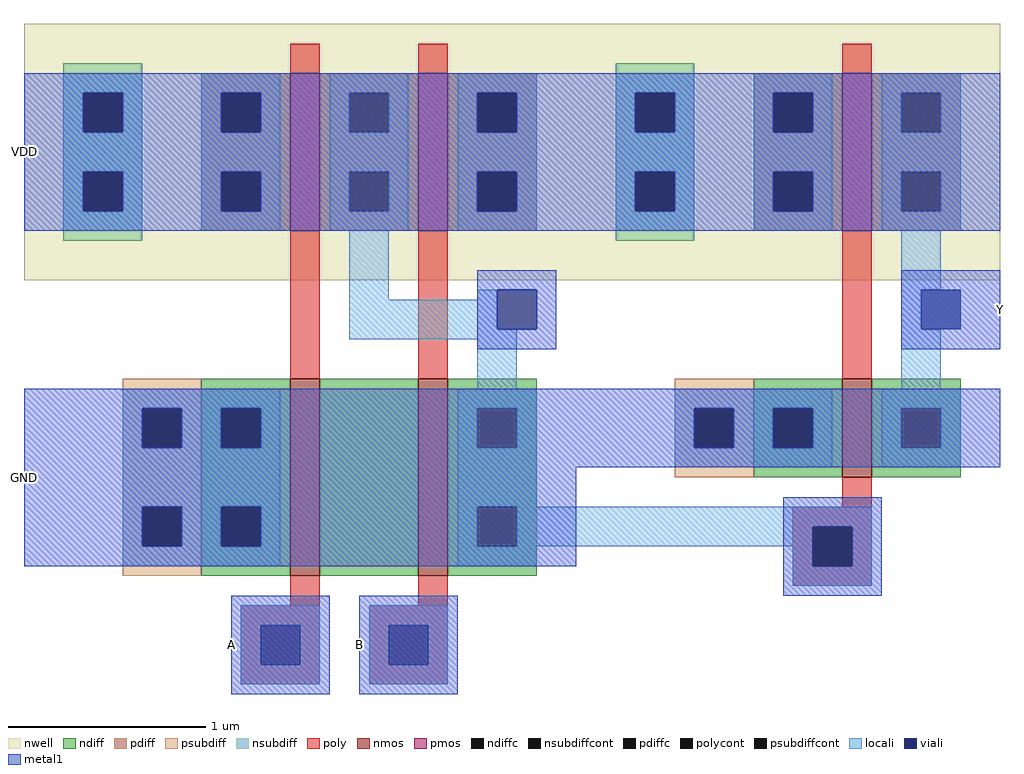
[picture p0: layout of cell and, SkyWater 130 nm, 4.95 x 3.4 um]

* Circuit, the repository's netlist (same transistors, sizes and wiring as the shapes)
* SPICE3 file created from and.ext - technology: sky130A

.subckt inverter1 GND Y A w_n140_80#
X0 Y A GND GND sky130_fd_pr__nfet_01v8 ad=0.225 pd=1.9 as=0.225 ps=1.9 w=0.5 l=0.15
X1 Y A w_n140_80# w_n140_80# sky130_fd_pr__pfet_01v8 ad=0.36 pd=2.5 as=0.36 ps=2.5 w=0.8 l=0.15
.ends

.subckt nand VDD GND A B Y
X0 Y a_n40_n115# VDD VDD sky130_fd_pr__pfet_01v8 ad=0.2 pd=1.3 as=0.36 ps=2.5 w=0.8 l=0.15
X1 Y a_25_n115# a_0_n60# GND sky130_fd_pr__nfet_01v8 ad=0.45 pd=2.9 as=0.25 ps=1.5 w=1 l=0.15
X2 a_0_n60# a_n40_n115# GND GND sky130_fd_pr__nfet_01v8 ad=0.25 pd=1.5 as=0.45 ps=2.9 w=1 l=0.15
X3 VDD a_25_n115# Y VDD sky130_fd_pr__pfet_01v8 ad=0.36 pd=2.5 as=0.2 ps=1.3 w=0.8 l=0.15
.ends

*.subckt and
Xinverter1_0 SUB inverter1_0/Y nand_0/Y nand_0/VDD inverter1
Xnand_0 nand_0/VDD SUB nand_0/A nand_0/B nand_0/Y nand
*.ends

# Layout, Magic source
magic
tech sky130A
<< locali >>
rect 185 15 315 35
<< metal1 >>
rect -75 175 -55 255
rect 370 115 420 155
rect -75 5 -55 95
rect 30 -60 80 -10
rect 95 -60 145 -10
use inverter1  inverter1_0
transform 1 0 345 0 1 70
box -140 -80 75 210
use nand  nand_0
transform 1 0 75 0 1 60
box -150 -120 130 220
<< labels >>
rlabel metal1 -75 215 -75 215 7 VDD
port 1 w
rlabel metal1 -75 50 -75 50 7 GND
port 2 w
rlabel metal1 30 -35 30 -35 7 A
port 3 w
rlabel metal1 95 -35 95 -35 7 B
port 4 w
rlabel metal1 420 135 420 135 3 Y
port 5 e
<< end >>

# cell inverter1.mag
magic
tech sky130A
<< nwell >>
rect -140 80 75 210
<< nmos >>
rect -5 -20 10 30
<< pmos >>
rect -5 105 10 185
<< ndiff >>
rect -50 15 -5 30
rect -50 -5 -40 15
rect -20 -5 -5 15
rect -50 -20 -5 -5
rect 10 15 55 30
rect 10 -5 25 15
rect 45 -5 55 15
rect 10 -20 55 -5
<< pdiff >>
rect -50 175 -5 185
rect -50 155 -40 175
rect -20 155 -5 175
rect -50 135 -5 155
rect -50 115 -40 135
rect -20 115 -5 135
rect -50 105 -5 115
rect 10 175 55 185
rect 10 155 25 175
rect 45 155 55 175
rect 10 135 55 155
rect 10 115 25 135
rect 45 115 55 135
rect 10 105 55 115
<< ndiffc >>
rect -40 -5 -20 15
rect 25 -5 45 15
<< pdiffc >>
rect -40 155 -20 175
rect -40 115 -20 135
rect 25 155 45 175
rect 25 115 45 135
<< psubdiff >>
rect -90 15 -50 30
rect -90 -5 -80 15
rect -60 -5 -50 15
rect -90 -20 -50 -5
<< nsubdiff >>
rect -120 175 -80 190
rect -120 155 -110 175
rect -90 155 -80 175
rect -120 135 -80 155
rect -120 115 -110 135
rect -90 115 -80 135
rect -120 100 -80 115
<< psubdiffcont >>
rect -80 -5 -60 15
<< nsubdiffcont >>
rect -110 155 -90 175
rect -110 115 -90 135
<< poly >>
rect -5 185 10 200
rect -5 30 10 105
rect -5 -35 10 -20
rect -30 -45 10 -35
rect -30 -65 -20 -45
rect 0 -65 10 -45
rect -30 -75 10 -65
<< polycont >>
rect -20 -65 0 -45
<< locali >>
rect -120 175 -80 185
rect -120 155 -110 175
rect -90 155 -80 175
rect -120 135 -80 155
rect -120 115 -110 135
rect -90 115 -80 135
rect -120 105 -80 115
rect -50 175 -10 185
rect -50 155 -40 175
rect -20 155 -10 175
rect -50 135 -10 155
rect -50 115 -40 135
rect -20 115 -10 135
rect -50 105 -10 115
rect 15 175 55 185
rect 15 155 25 175
rect 45 155 55 175
rect 15 135 55 155
rect 15 115 25 135
rect 45 115 55 135
rect 15 105 55 115
rect 25 75 45 105
rect 25 55 35 75
rect 25 25 45 55
rect -90 15 -10 25
rect -90 -5 -80 15
rect -60 -5 -40 15
rect -20 -5 -10 15
rect -90 -15 -10 -5
rect 15 15 55 25
rect 15 -5 25 15
rect 45 -5 55 15
rect 15 -15 55 -5
rect -30 -45 10 -35
rect -30 -65 -20 -45
rect 0 -65 10 -45
rect -30 -75 10 -65
<< viali >>
rect -110 155 -90 175
rect -110 115 -90 135
rect -40 155 -20 175
rect -40 115 -20 135
rect 35 55 55 75
rect -80 -5 -60 15
rect -40 -5 -20 15
rect -20 -65 0 -45
<< metal1 >>
rect -140 175 75 185
rect -140 155 -110 175
rect -90 155 -40 175
rect -20 155 75 175
rect -140 135 75 155
rect -140 115 -110 135
rect -90 115 -40 135
rect -20 115 75 135
rect -140 105 75 115
rect 25 75 65 85
rect 25 55 35 75
rect 55 55 65 75
rect 25 45 65 55
rect -140 15 75 25
rect -140 -5 -80 15
rect -60 -5 -40 15
rect -20 -5 75 15
rect -140 -15 75 -5
rect -35 -45 15 -30
rect -35 -65 -20 -45
rect 0 -65 15 -45
rect -35 -80 15 -65
<< labels >>
rlabel metal1 -140 5 -140 5 7 GND
port 2 w
rlabel metal1 65 65 65 65 3 Y
port 3 e
rlabel metal1 -35 -55 -35 -55 7 A
port 4 w
rlabel metal1 -140 150 -140 150 7 VDD
port 1 w
<< end >>

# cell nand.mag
magic
tech sky130A
<< nwell >>
rect -150 90 130 220
<< nmos >>
rect -15 -60 0 40
rect 50 -60 65 40
<< pmos >>
rect -15 115 0 195
rect 50 115 65 195
<< ndiff >>
rect -60 25 -15 40
rect -60 5 -50 25
rect -30 5 -15 25
rect -60 -25 -15 5
rect -60 -45 -50 -25
rect -30 -45 -15 -25
rect -60 -60 -15 -45
rect 0 -60 50 40
rect 65 25 110 40
rect 65 5 80 25
rect 100 5 110 25
rect 65 -25 110 5
rect 65 -45 80 -25
rect 100 -45 110 -25
rect 65 -60 110 -45
<< pdiff >>
rect -60 185 -15 195
rect -60 165 -50 185
rect -30 165 -15 185
rect -60 145 -15 165
rect -60 125 -50 145
rect -30 125 -15 145
rect -60 115 -15 125
rect 0 185 50 195
rect 0 165 15 185
rect 35 165 50 185
rect 0 145 50 165
rect 0 125 15 145
rect 35 125 50 145
rect 0 115 50 125
rect 65 185 110 195
rect 65 165 80 185
rect 100 165 110 185
rect 65 145 110 165
rect 65 125 80 145
rect 100 125 110 145
rect 65 115 110 125
<< ndiffc >>
rect -50 5 -30 25
rect -50 -45 -30 -25
rect 80 5 100 25
rect 80 -45 100 -25
<< pdiffc >>
rect -50 165 -30 185
rect -50 125 -30 145
rect 15 165 35 185
rect 15 125 35 145
rect 80 165 100 185
rect 80 125 100 145
<< psubdiff >>
rect -100 25 -60 40
rect -100 5 -90 25
rect -70 5 -60 25
rect -100 -25 -60 5
rect -100 -45 -90 -25
rect -70 -45 -60 -25
rect -100 -60 -60 -45
<< nsubdiff >>
rect -130 185 -90 200
rect -130 165 -120 185
rect -100 165 -90 185
rect -130 145 -90 165
rect -130 125 -120 145
rect -100 125 -90 145
rect -130 110 -90 125
<< psubdiffcont >>
rect -90 5 -70 25
rect -90 -45 -70 -25
<< nsubdiffcont >>
rect -120 165 -100 185
rect -120 125 -100 145
<< poly >>
rect -15 195 0 210
rect 50 195 65 210
rect -15 40 0 115
rect 50 40 65 115
rect -15 -75 0 -60
rect 50 -75 65 -60
rect -40 -115 0 -75
rect 25 -115 65 -75
<< locali >>
rect -130 185 -90 195
rect -130 165 -120 185
rect -100 165 -90 185
rect -130 145 -90 165
rect -130 125 -120 145
rect -100 125 -90 145
rect -130 115 -90 125
rect -60 185 -20 195
rect -60 165 -50 185
rect -30 165 -20 185
rect -60 145 -20 165
rect -60 125 -50 145
rect -30 125 -20 145
rect -60 115 -20 125
rect 5 185 45 195
rect 5 165 15 185
rect 35 165 45 185
rect 5 145 45 165
rect 5 125 15 145
rect 35 125 45 145
rect 5 115 45 125
rect 70 185 110 195
rect 70 165 80 185
rect 100 165 110 185
rect 70 145 110 165
rect 70 125 80 145
rect 100 125 110 145
rect 70 115 110 125
rect 15 80 35 115
rect 80 80 90 85
rect 15 65 90 80
rect 15 60 100 65
rect 80 35 100 60
rect -100 25 -20 35
rect -100 5 -90 25
rect -70 5 -50 25
rect -30 5 -20 25
rect -100 -25 -20 5
rect -100 -45 -90 -25
rect -70 -45 -50 -25
rect -30 -45 -20 -25
rect -100 -55 -20 -45
rect 70 25 110 35
rect 70 5 80 25
rect 100 5 110 25
rect 70 -25 110 5
rect 70 -45 80 -25
rect 100 -45 110 -25
rect 70 -55 110 -45
rect -40 -85 0 -75
rect -40 -105 -30 -85
rect -10 -105 0 -85
rect -40 -115 0 -105
rect 25 -85 65 -75
rect 25 -105 35 -85
rect 55 -105 65 -85
rect 25 -115 65 -105
<< viali >>
rect -120 165 -100 185
rect -120 125 -100 145
rect -50 165 -30 185
rect -50 125 -30 145
rect 80 165 100 185
rect 80 125 100 145
rect 90 65 110 85
rect -90 5 -70 25
rect -50 5 -30 25
rect -90 -45 -70 -25
rect -50 -45 -30 -25
rect -30 -105 -10 -85
rect 35 -105 55 -85
<< metal1 >>
rect -150 185 130 195
rect -150 165 -120 185
rect -100 165 -50 185
rect -30 165 80 185
rect 100 165 130 185
rect -150 145 130 165
rect -150 125 -120 145
rect -100 125 -50 145
rect -30 125 80 145
rect 100 125 130 145
rect -150 115 130 125
rect 80 85 120 95
rect 80 65 90 85
rect 110 65 120 85
rect 80 55 120 65
rect -150 25 130 35
rect -150 5 -90 25
rect -70 5 -50 25
rect -30 5 130 25
rect -150 -25 130 5
rect -150 -45 -90 -25
rect -70 -45 -50 -25
rect -30 -45 130 -25
rect -150 -55 130 -45
rect -45 -85 5 -70
rect -45 -105 -30 -85
rect -10 -105 5 -85
rect -45 -120 5 -105
rect 20 -85 70 -70
rect 20 -105 35 -85
rect 55 -105 70 -85
rect 20 -120 70 -105
<< labels >>
rlabel metal1 -150 155 -150 155 7 VDD
port 1 w
rlabel metal1 -150 15 -150 15 7 GND
port 2 w
rlabel metal1 120 75 120 75 3 Y
port 5 e
rlabel metal1 -45 -95 -45 -95 7 A
port 3 w
rlabel metal1 20 -95 20 -95 7 B
port 4 w
<< end >>
